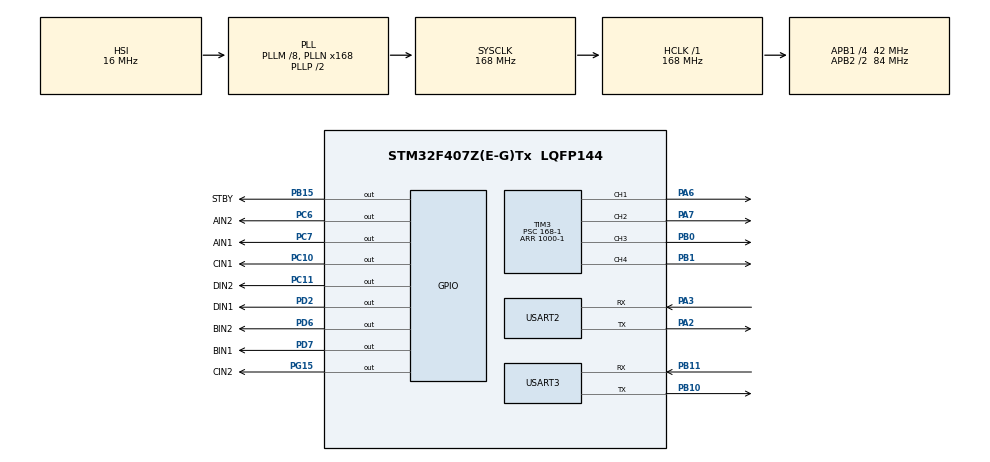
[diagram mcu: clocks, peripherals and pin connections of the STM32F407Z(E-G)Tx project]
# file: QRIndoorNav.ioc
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Dma.Request0=USART3_RX
Dma.USART3_RX.0.Direction=DMA_PERIPH_TO_MEMORY
Dma.USART3_RX.0.FIFOMode=DMA_FIFOMODE_DISABLE
Dma.USART3_RX.0.Instance=DMA1_Stream1
Dma.USART3_RX.0.MemDataAlignment=DMA_MDATAALIGN_BYTE
Dma.USART3_RX.0.MemInc=DMA_MINC_ENABLE
Dma.USART3_RX.0.Mode=DMA_CIRCULAR
Dma.USART3_RX.0.PeriphDataAlignment=DMA_PDATAALIGN_BYTE
Dma.USART3_RX.0.PeriphInc=DMA_PINC_DISABLE
Dma.USART3_RX.0.Priority=DMA_PRIORITY_HIGH
Mcu.Family=STM32F4
Mcu.Name=STM32F407Z(E-G)Tx
Mcu.Package=LQFP144
NVIC.DMA1_Stream1_IRQn=true\:0\:0\:false\:false\:true\:false\:true\:true
NVIC.FPU_IRQn=true\:0\:0\:false\:false\:true\:true\:false\:true
NVIC.PriorityGroup=NVIC_PRIORITYGROUP_4
NVIC.USART3_IRQn=true\:0\:0\:false\:false\:true\:true\:true\:true
PA13.Mode=Serial_Wire
PA13.Signal=SYS_JTMS-SWDIO
PA14.Mode=Serial_Wire
PA14.Signal=SYS_JTCK-SWCLK
PA2.Mode=Asynchronous
PA2.Signal=USART2_TX
PA3.Mode=Asynchronous
PA3.Signal=USART2_RX
PA6.Signal=S_TIM3_CH1
PA7.Signal=S_TIM3_CH2
PB0.Signal=S_TIM3_CH3
PB1.Signal=S_TIM3_CH4
PB10.Mode=Asynchronous
PB10.Signal=USART3_TX
PB11.Mode=Asynchronous
PB11.Signal=USART3_RX
PB15.GPIO_Label=STBY
PB15.Signal=GPIO_Output
PC10.GPIO_Label=CIN1
PC10.GPIO_Speed=GPIO_SPEED_FREQ_HIGH
PC10.Signal=GPIO_Output
PC11.GPIO_Label=DIN2
PC11.GPIO_Speed=GPIO_SPEED_FREQ_HIGH
PC11.Signal=GPIO_Output
PC6.GPIO_Label=AIN2
PC6.GPIO_Speed=GPIO_SPEED_FREQ_HIGH
PC6.Signal=GPIO_Output
PC7.GPIO_Label=AIN1
PC7.GPIO_Speed=GPIO_SPEED_FREQ_HIGH
PC7.Signal=GPIO_Output
PD2.GPIO_Label=DIN1
PD2.GPIO_Speed=GPIO_SPEED_FREQ_HIGH
PD2.Signal=GPIO_Output
PD6.GPIO_Label=BIN2
PD6.GPIO_Speed=GPIO_SPEED_FREQ_HIGH
PD6.Signal=GPIO_Output
PD7.GPIO_Label=BIN1
PD7.GPIO_Speed=GPIO_SPEED_FREQ_HIGH
PD7.Signal=GPIO_Output
PG15.GPIO_Label=CIN2
PG15.GPIO_Speed=GPIO_SPEED_FREQ_HIGH
PG15.Signal=GPIO_Output
PH0-OSC_IN.Mode=HSE-External-Oscillator
PH0-OSC_IN.Signal=RCC_OSC_IN
PH1-OSC_OUT.Mode=HSE-External-Oscillator
PH1-OSC_OUT.Signal=RCC_OSC_OUT
ProjectManager.HeapSize=0x200
ProjectManager.StackSize=0x400
ProjectManager.TargetToolchain=Makefile
RCC.48MHZClocksFreq_Value=84000000
RCC.AHBFreq_Value=168000000
RCC.APB1CLKDivider=RCC_HCLK_DIV4
RCC.APB1Freq_Value=42000000
RCC.APB1TimFreq_Value=84000000
RCC.APB2CLKDivider=RCC_HCLK_DIV2
RCC.APB2Freq_Value=84000000
RCC.APB2TimFreq_Value=168000000
RCC.CortexFreq_Value=168000000
RCC.HCLKFreq_Value=168000000
RCC.HSE_VALUE=25000000
RCC.HSI_VALUE=16000000
RCC.LSE_VALUE=32768
RCC.PLLM=8
RCC.PLLN=168
RCC.SYSCLKFreq_VALUE=168000000
RCC.SYSCLKSource=RCC_SYSCLKSOURCE_PLLCLK
RCC.VCOOutputFreq_Value=336000000
SH.S_TIM3_CH1.0=TIM3_CH1,PWM Generation1 CH1
SH.S_TIM3_CH2.0=TIM3_CH2,PWM Generation2 CH2
SH.S_TIM3_CH3.0=TIM3_CH3,PWM Generation3 CH3
SH.S_TIM3_CH4.0=TIM3_CH4,PWM Generation4 CH4
TIM3.Channel-PWM\ Generation1\ CH1=TIM_CHANNEL_1
TIM3.Channel-PWM\ Generation2\ CH2=TIM_CHANNEL_2
TIM3.Channel-PWM\ Generation3\ CH3=TIM_CHANNEL_3
TIM3.Channel-PWM\ Generation4\ CH4=TIM_CHANNEL_4
TIM3.Period=1000-1
TIM3.Prescaler=168-1
USART2.VirtualMode=VM_ASYNC
USART3.VirtualMode=VM_ASYNC
VP_TIM3_VS_ClockSourceINT.Mode=Internal
board=custom

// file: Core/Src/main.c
/* USER CODE BEGIN Header */
/**
  ******************************************************************************
  * @file           : main.c
  * @brief          : Main program body
  ******************************************************************************
  * @attention
  *
  * Copyright (c) 2026 STMicroelectronics.
  * All rights reserved.
  *
  * This software is licensed under terms that can be found in the LICENSE file
  * in the root directory of this software component.
  * If no LICENSE file comes with this software, it is provided AS-IS.
  *
  ******************************************************************************
  */
/* USER CODE END Header */
#include "main.h"

/* USER CODE BEGIN Includes */
#include "motor.h"
#include "qr_comm.h"
#include "localization.h"
#include "wifi_comm.h"
#include "camera_calib.h"
#include <stdio.h>
#include <string.h>
/* USER CODE END Includes */

TIM_HandleTypeDef htim3;

UART_HandleTypeDef huart2;
UART_HandleTypeDef huart3;
DMA_HandleTypeDef hdma_usart3_rx;

void SystemClock_Config(void);
static void MX_GPIO_Init(void);
static void MX_DMA_Init(void);
static void MX_USART3_UART_Init(void);
static void MX_TIM3_Init(void);
static void MX_USART2_UART_Init(void);

int main(void)
{

  /* MCU Configuration--------------------------------------------------------*/

  /* Reset of all peripherals, Initializes the Flash interface and the Systick. */
  HAL_Init();

  /* Configure the system clock */
  SystemClock_Config();

  /* Initialize all configured peripherals */
  MX_GPIO_Init();
  MX_DMA_Init();
  MX_USART3_UART_Init();
  MX_TIM3_Init();
  MX_USART2_UART_Init();
  /* USER CODE BEGIN 2 */

  /* 初始化各个模块 */
  Motor_Init();
  QR_Comm_Init();
  QR_Comm_Start_Receive();
  WiFi_Comm_Init();
  WiFi_Comm_Start_Receive();
  Localization_Init();
  /* 配置PnP所需参数：使用 GC2145 实际标定结果 */
  Set_Camera_Intrinsics(CAMERA_FX, CAMERA_FY, CAMERA_CX, CAMERA_CY);
  Set_Marker_Size(MARKER_SIZE_CM);

  /* DEBUG: 通过UART3发送初始化消息 */
  const char *init_msg = "System initialized\r\n";
  HAL_UART_Transmit(&huart3, (uint8_t *)init_msg, strlen(init_msg), 100);

  /* 电机自检：短暂转动以验证接线和驱动器 */
  const char *test_msg = "Motor self-test...\r\n";
  HAL_UART_Transmit(&huart3, (uint8_t *)test_msg, strlen(test_msg), 100);

  Motor_SetSpeed(MOTOR_A, 300);
  Motor_SetSpeed(MOTOR_B, 300);
  Motor_SetSpeed(MOTOR_C, 300);
  Motor_SetSpeed(MOTOR_D, 300);
  HAL_Delay(500);
  Motor_Stop_All();

  const char *test_ok = "Motor test complete\r\n";
  HAL_UART_Transmit(&huart3, (uint8_t *)test_ok, strlen(test_ok), 100);

  /* USER CODE END 2 */

  /* Infinite loop */
  /* USER CODE BEGIN WHILE */

  /* 主控制循环参数 */
  #define CONTROL_PERIOD_MS  20  /* 50Hz控制频率 */
  #define WIFI_SEND_PERIOD_MS 200  /* Wi-Fi发送周期5Hz */
  uint32_t last_control_time = 0;
  uint32_t last_wifi_send = 0;

  bool navigation_active = false;
  bool manual_control_mode = false;
  /* 演示模式变量 */
  bool demo_initial_sending = false; /* 上电5s后持续发送初始POS */
  uint32_t demo_initial_start = 0;
  bool demo_sequence_active = false; /* 收到手机后启动的演示序列 */
  uint32_t demo_sequence_start = 0;
  const float demo_start_x = 123.0f, demo_start_y = 135.0f, demo_start_heading = 10.0f;
  float demo_target_x = 0.0f, demo_target_y = 0.0f;
  const uint32_t DEMO_START_DELAY_MS = 5000U;
  const uint32_t DEMO_TURN_MS = 1000U;   /* 左转耗时（用于模拟航向变化） */
  const uint32_t DEMO_MOVE_MS = 7000U;  /* 直线行驶时长（改回7秒） */
  uint8_t demo_heading_jitter = 0;
  bool demo_finished = false; /* 演示完成后保持发送固定POS */
  /* 新的右转演示：CMD:GOTO,140,10 */
  bool right_demo_active = false;
  bool right_demo_finished = false;
  uint32_t right_demo_start = 0;
  const float right_demo_start_x = 99.0f, right_demo_start_y = 14.0f;
  const float right_demo_end_x = 145.0f, right_demo_end_y = 11.0f;
  const float right_demo_heading = 60.0f;
  const uint32_t RIGHT_DEMO_TURN_MS = 2000U;
  const uint32_t RIGHT_DEMO_MOVE_MS = 3000U;
  const float right_demo_turn_start_heading = 10.0f;
  /* 新的右转演示：CMD:GOTO,20,130 */
  bool third_demo_active = false;
  bool third_demo_finished = false;
  uint32_t third_demo_start = 0;
  const float third_demo_start_x = 145.0f, third_demo_start_y = 11.0f;
  const float third_demo_end_x = 100.0f, third_demo_end_y = 130.0f;
  const float third_demo_heading = -160.0f;
  const uint32_t THIRD_DEMO_TURN_MS = 3000U;
  const uint32_t THIRD_DEMO_MOVE_MS = 7000U;
  const float third_demo_turn_start_heading = 10.0f;
    bool k210_ready_logged = false;
    bool link_lost = true;
    uint32_t last_link_warn = 0;

  while (1)
  {
    uint32_t current_time = HAL_GetTick();

    /* 执行50Hz控制循环 */
    if (current_time - last_control_time >= CONTROL_PERIOD_MS) {
        last_control_time = current_time;

      /* 输出WiFi调试/服务（非阻塞） */
      WiFi_Print_Debug();

      /* 链路健康监测和事件回应 */
      if (QR_Comm_Is_K210_Ready() && !k210_ready_logged) {
        const char *ready_msg = "K210 ready\r\n";
        HAL_UART_Transmit(&huart3, (uint8_t *)ready_msg, strlen(ready_msg), 10);
        k210_ready_logged = true;
      }

      if (QR_Comm_Link_Alive(3000U)) {
        if (link_lost) {
          const char *restore_msg = "Link restored\r\n";
          HAL_UART_Transmit(&huart3, (uint8_t *)restore_msg, strlen(restore_msg), 10);
          link_lost = false;
        }
      } else {
        if (!link_lost && (current_time - last_link_warn >= 1000U)) {
          const char *lost_msg = "Link lost, stop\r\n";
          HAL_UART_Transmit(&huart3, (uint8_t *)lost_msg, strlen(lost_msg), 10);
          Motor_Stop_All();
          navigation_active = false;
          link_lost = true;
          last_link_warn = current_time;
        }
      }

        /* ========== 第一步：处理Wi-Fi命令 ========== */
        WiFi_Command_t wifi_cmd;
        if (WiFi_Comm_Process(&wifi_cmd)) {
            /* 调试输出：命令已接收 */
            char cmd_debug[64];
            snprintf(cmd_debug, sizeof(cmd_debug), "[Main] WiFi CMD type=%d\r\n", wifi_cmd.type);
            HAL_UART_Transmit(&huart3, (uint8_t *)cmd_debug, strlen(cmd_debug), 10);

            switch (wifi_cmd.type) {
                case WIFI_CMD_GOTO:
                  /* 如果收到手机直接发送的两个数（例如 "90 10"），并且是演示指令，则触发演示序列 */
                  if (demo_initial_sending && ((int)wifi_cmd.goto_cmd.target_x == 90) && ((int)wifi_cmd.goto_cmd.target_y == 10)) {
                    demo_sequence_active = true;
                    demo_sequence_start = current_time;
                    demo_target_x = wifi_cmd.goto_cmd.target_x;
                    demo_target_y = wifi_cmd.goto_cmd.target_y;
                    demo_initial_sending = false; /* 停止初始持续发送 */
                    demo_finished = false;
                    navigation_active = false;
                    manual_control_mode = false;
                    WiFi_Send_Status("DEMO_START");
                  } else if ((int)wifi_cmd.goto_cmd.target_x == 140 && (int)wifi_cmd.goto_cmd.target_y == 10) {
                    right_demo_active = true;
                    right_demo_finished = false;
                    right_demo_start = current_time;
                    demo_initial_sending = false;
                    demo_sequence_active = false;
                    demo_finished = false;
                    third_demo_finished = false;
                    navigation_active = false;
                    manual_control_mode = false;
                    WiFi_Send_Status("DEMO_START");
                  } else if ((int)wifi_cmd.goto_cmd.target_x == 100 && (int)wifi_cmd.goto_cmd.target_y == 130) {
                    third_demo_active = true;
                    third_demo_finished = false;
                    third_demo_start = current_time;
                    demo_initial_sending = false;
                    demo_sequence_active = false;
                    demo_finished = false;
                    right_demo_finished = false;
                    navigation_active = false;
                    manual_control_mode = false;
                    WiFi_Send_Status("DEMO_START");
                  } else {
                    /* 正常导航命令 */
                    demo_finished = false;
                    right_demo_finished = false;
                    third_demo_finished = false;
                    Set_Navigation_Target(wifi_cmd.goto_cmd.target_x,
                               wifi_cmd.goto_cmd.target_y, 10.0f);
                    navigation_active = true;
                    manual_control_mode = false;
                    WiFi_Send_Status("NAVIGATING");
                  }
                  break;

                case WIFI_CMD_MOVE:
                    /* 手动控制 */
                    manual_control_mode = true;
                    navigation_active = false;
                  right_demo_finished = false;
                    third_demo_finished = false;
                    {
                        float vx = 0, vy = 0, omega = 0;
                        int16_t spd = wifi_cmd.move_cmd.speed;

                        /* 调试输出：MOVE命令详情 */
                        char move_debug[64];
                        snprintf(move_debug, sizeof(move_debug), "[Main] MOVE dir=%d spd=%d\r\n",
                                wifi_cmd.move_cmd.direction, spd);
                        HAL_UART_Transmit(&huart3, (uint8_t *)move_debug, strlen(move_debug), 10);

                        switch (wifi_cmd.move_cmd.direction) {
                            case MOVE_FORWARD:    vx = spd;  break;
                            case MOVE_BACKWARD:   vx = -spd; break;
                            case MOVE_LEFT:       vy = spd;  break;
                            case MOVE_RIGHT:      vy = -spd; break;
                            case MOVE_TURN_LEFT:  omega = -spd; break;
                            case MOVE_TURN_RIGHT: omega = spd; break;
                        }
                        Mecanum_Move(vx, vy, omega);

                        /* 调试输出：Mecanum参数 */
                        char mec_debug[64];
                        snprintf(mec_debug, sizeof(mec_debug), "[Main] Mecanum vx=%.0f vy=%.0f w=%.0f\r\n",
                                vx, vy, omega);
                        HAL_UART_Transmit(&huart3, (uint8_t *)mec_debug, strlen(mec_debug), 10);
                    }
                    WiFi_Send_Status("MANUAL");
                    demo_finished = false;
                    break;

                case WIFI_CMD_STOP:
                    Motor_Stop_All();
                    navigation_active = false;
                    manual_control_mode = false;
                  right_demo_finished = false;
                    third_demo_finished = false;
                    WiFi_Send_Status("IDLE");
                    break;

                case WIFI_CMD_QUERY:
                    /* 发送当前状态 */
                    if (navigation_active) {
                        WiFi_Send_Status("NAVIGATING");
                    } else if (manual_control_mode) {
                        WiFi_Send_Status("MANUAL");
                    } else {
                        WiFi_Send_Status("IDLE");
                    }
                    break;

                default:
                    break;
            }
        }

        /* ========== 第二步：接收并处理二维码数据 ========== */
        QR_Data_t qr_data;
        if (QR_Comm_Process(&qr_data)) {
          /* 成功接收定位数据：$POS直接融合，角点包优先使用PnP */
          if (qr_data.pose_valid || !Update_Pose_From_QR_PnP(&qr_data)) {
            Update_Position_From_QR(&qr_data);
          }

            /* DEBUG: 打印接收到的数据 */
            char debug_msg[128];
            snprintf(debug_msg, sizeof(debug_msg),
                    "%s: %s @ (%.1f, %.1f) heading=%.1f\r\n",
                    qr_data.pose_valid ? "POS" : "QR",
                    qr_data.id, qr_data.world_x, qr_data.world_y, qr_data.heading_deg);
            HAL_UART_Transmit(&huart3, (uint8_t *)debug_msg, strlen(debug_msg), 10);

            /* 自动激活导航：首次检测到QR后，仅在无Wi-Fi控制时激活 */
            if (!navigation_active && !manual_control_mode) {
              float target_x = qr_data.world_x + 90.0f;
                float target_y = qr_data.world_y;
              demo_finished = false;
              right_demo_finished = false;
              third_demo_finished = false;
                Set_Navigation_Target(target_x, target_y, 10.0f);
                navigation_active = true;

                char nav_msg[128];
                snprintf(nav_msg, sizeof(nav_msg),
                        "Navigation activated: target (%.1f, %.1f)\r\n",
                        target_x, target_y);
                HAL_UART_Transmit(&huart3, (uint8_t *)nav_msg, strlen(nav_msg), 10);
            }
        }

        /* ========== 第三步：导航控制 ========== */
        if (navigation_active && !manual_control_mode) {
            if (Navigate_Update()) {
                /* 已到达目标 */
                navigation_active = false;
                Motor_Stop_All();
                const char *arrived_msg = "Target reached\r\n";
                HAL_UART_Transmit(&huart3, (uint8_t *)arrived_msg, strlen(arrived_msg), 10);
            }
        }

        /* ========== 第四步：定期发送位置到Wi-Fi ========== */
        if (current_time - last_wifi_send >= WIFI_SEND_PERIOD_MS) {
          last_wifi_send = current_time;

          /* 启动后5s持续发送初始POS（演示） */
          if (!demo_initial_sending && current_time >= DEMO_START_DELAY_MS && !demo_sequence_active) {
            demo_initial_sending = true;
            demo_initial_start = current_time;
          }

          if (right_demo_finished) {
            /* 右转演示完成后保持发送固定坐标和航向 */
            WiFi_Send_Position(right_demo_end_x, right_demo_end_y, right_demo_heading);
          } else if (third_demo_finished) {
            /* 另一个右转演示完成后保持发送固定坐标和航向 */
            WiFi_Send_Position(third_demo_end_x, third_demo_end_y, third_demo_heading);
          } else if (demo_finished) {
            /* 演示完成后保持发送固定坐标和航向 */
            WiFi_Send_Position(99.0f, 14.0f, -18.0f);
          } else if (right_demo_active) {
            uint32_t elapsed = current_time - right_demo_start;
            if (elapsed <= RIGHT_DEMO_TURN_MS) {
              /* 右转阶段：先原地右转并让航向角线性变化 */
              float t = (float)elapsed / (float)RIGHT_DEMO_TURN_MS;
              float heading = right_demo_turn_start_heading + t * (right_demo_heading - right_demo_turn_start_heading);
              Mecanum_Move(0.0f, 0.0f, 300.0f);
              WiFi_Send_Position(right_demo_start_x, right_demo_start_y, heading);
            } else if (elapsed <= (RIGHT_DEMO_TURN_MS + RIGHT_DEMO_MOVE_MS)) {
              /* 直线阶段：再前进 2 秒并插值到目标坐标 */
              uint32_t move_elapsed = elapsed - RIGHT_DEMO_TURN_MS;
              float frac = (float)move_elapsed / (float)RIGHT_DEMO_MOVE_MS;
              if (frac > 1.0f) frac = 1.0f;
              float x = right_demo_start_x + frac * (right_demo_end_x - right_demo_start_x);
              float y = right_demo_start_y + frac * (right_demo_end_y - right_demo_start_y);
              Mecanum_Move(300.0f, 0.0f, 0.0f);
              WiFi_Send_Position(x, y, right_demo_heading);
            } else {
              /* 演示结束，停止电机并切换到完成保持发送 */
              Motor_Stop_All();
              right_demo_active = false;
              right_demo_finished = true;
              WiFi_Send_Status("ARRIVAL");
              WiFi_Send_Position(right_demo_end_x, right_demo_end_y, right_demo_heading);
            }
          } else if (third_demo_active) {
            uint32_t elapsed = current_time - third_demo_start;
            if (elapsed <= THIRD_DEMO_TURN_MS) {
              /* 右转阶段：先原地右转并让航向角线性变化 */
              float t = (float)elapsed / (float)THIRD_DEMO_TURN_MS;
              float heading = third_demo_turn_start_heading + t * (third_demo_heading - third_demo_turn_start_heading);
              Mecanum_Move(0.0f, 0.0f, 300.0f);
              WiFi_Send_Position(third_demo_start_x, third_demo_start_y, heading);
            } else if (elapsed <= (THIRD_DEMO_TURN_MS + THIRD_DEMO_MOVE_MS)) {
              /* 直线阶段：再前进 5 秒并插值到目标坐标 */
              uint32_t move_elapsed = elapsed - THIRD_DEMO_TURN_MS;
              float frac = (float)move_elapsed / (float)THIRD_DEMO_MOVE_MS;
              if (frac > 1.0f) frac = 1.0f;
              float x = third_demo_start_x + frac * (third_demo_end_x - third_demo_start_x);
              float y = third_demo_start_y + frac * (third_demo_end_y - third_demo_start_y);
              Mecanum_Move(300.0f, 0.0f, 0.0f);
              WiFi_Send_Position(x, y, third_demo_heading);
            } else {
              /* 演示结束，停止电机并切换到完成保持发送 */
              Motor_Stop_All();
              third_demo_active = false;
              third_demo_finished = true;
              WiFi_Send_Status("ARRIVAL");
              WiFi_Send_Position(third_demo_end_x, third_demo_end_y, third_demo_heading);
            }
          } else if (demo_sequence_active) {
            uint32_t elapsed = current_time - demo_sequence_start;
            if (elapsed <= DEMO_TURN_MS) {
              /* 左转阶段：模拟角度线性变化，位置暂不改变 */
              Mecanum_Move(0.0f, 0.0f, -300.0f);
              float t = (float)elapsed / (float)DEMO_TURN_MS;
              float heading = demo_start_heading + t * (-27.0f); /* 10 -> -17 */
              WiFi_Send_Position(demo_start_x, demo_start_y, heading);
            } else if (elapsed <= (DEMO_TURN_MS + DEMO_MOVE_MS)) {
              /* 直线行驶阶段：线性插值位置并发送，航向保持-17并带微抖动 */
              uint32_t move_elapsed = elapsed - DEMO_TURN_MS;
              float frac = (float)move_elapsed / (float)DEMO_MOVE_MS;
              if (frac > 1.0f) frac = 1.0f;
              float x = demo_start_x + frac * (demo_target_x - demo_start_x);
              float y = demo_start_y + frac * (demo_target_y - demo_start_y);
              float heading = -17.0f + ((demo_heading_jitter & 1) ? 1.0f : -1.0f);
              demo_heading_jitter++;
              Mecanum_Move(300.0f, 0.0f, 0.0f);
              WiFi_Send_Position(x, y, heading);
            } else {
              /* 演示结束，停止电机并报告，切换到完成保持发送 */
              Motor_Stop_All();
              demo_sequence_active = false;
              demo_finished = true;
              demo_target_x = 90.0f;
              demo_target_y = 10.0f;
              WiFi_Send_Status("ARRIVAL");
              /* 立即发送最终坐标一次 */
              WiFi_Send_Position(demo_target_x, demo_target_y, -18.0f);
            }
          } else if (demo_initial_sending) {
            /* 初始持续发送固定坐标 */
            WiFi_Send_Position(demo_start_x, demo_start_y, demo_start_heading);
          } else if (WiFi_Transparent_Mode_Ready()) {
            /* 常规行为：透传模式下发送真实位置 */
            Position_t pos = Get_Current_Position();
            WiFi_Send_Position(pos.x, pos.y, pos.heading);
          }
        }

        /* 示例：自动导航到目标点(300, 300)
         * 取消下面的注释来启用自动导航
         */
        // if (!navigation_active && current_time % 5000 == 0) {
        //     Set_Navigation_Target(300.0f, 300.0f, 10.0f);
        //     navigation_active = true;
        // }
    }
    /* USER CODE END WHILE */

  }
}

void SystemClock_Config(void)
{
  RCC_OscInitTypeDef RCC_OscInitStruct = {0};
  RCC_ClkInitTypeDef RCC_ClkInitStruct = {0};

  /** Configure the main internal regulator output voltage
  */
  __HAL_RCC_PWR_CLK_ENABLE();
  __HAL_PWR_VOLTAGESCALING_CONFIG(PWR_REGULATOR_VOLTAGE_SCALE1);

  /** Initializes the RCC Oscillators according to the specified parameters
  * in the RCC_OscInitTypeDef structure.
  */
  RCC_OscInitStruct.OscillatorType = RCC_OSCILLATORTYPE_HSI;
  RCC_OscInitStruct.HSIState = RCC_HSI_ON;
  RCC_OscInitStruct.HSICalibrationValue = RCC_HSICALIBRATION_DEFAULT;
  RCC_OscInitStruct.PLL.PLLState = RCC_PLL_ON;
  RCC_OscInitStruct.PLL.PLLSource = RCC_PLLSOURCE_HSI;
  RCC_OscInitStruct.PLL.PLLM = 8;
  RCC_OscInitStruct.PLL.PLLN = 168;
  RCC_OscInitStruct.PLL.PLLP = RCC_PLLP_DIV2;
  RCC_OscInitStruct.PLL.PLLQ = 4;
  if (HAL_RCC_OscConfig(&RCC_OscInitStruct) != HAL_OK)
  {
    Error_Handler();
  }

  /** Initializes the CPU, AHB and APB buses clocks
  */
  RCC_ClkInitStruct.ClockType = RCC_CLOCKTYPE_HCLK|RCC_CLOCKTYPE_SYSCLK
                              |RCC_CLOCKTYPE_PCLK1|RCC_CLOCKTYPE_PCLK2;
  RCC_ClkInitStruct.SYSCLKSource = RCC_SYSCLKSOURCE_PLLCLK;
  RCC_ClkInitStruct.AHBCLKDivider = RCC_SYSCLK_DIV1;
  RCC_ClkInitStruct.APB1CLKDivider = RCC_HCLK_DIV4;
  RCC_ClkInitStruct.APB2CLKDivider = RCC_HCLK_DIV2;

  if (HAL_RCC_ClockConfig(&RCC_ClkInitStruct, FLASH_LATENCY_5) != HAL_OK)
  {
    Error_Handler();
  }
}

static void MX_TIM3_Init(void)
{

  TIM_ClockConfigTypeDef sClockSourceConfig = {0};
  TIM_MasterConfigTypeDef sMasterConfig = {0};
  TIM_OC_InitTypeDef sConfigOC = {0};

  htim3.Instance = TIM3;
  htim3.Init.Prescaler = 168-1;
  htim3.Init.CounterMode = TIM_COUNTERMODE_UP;
  htim3.Init.Period = 1000-1;
  htim3.Init.ClockDivision = TIM_CLOCKDIVISION_DIV1;
  htim3.Init.AutoReloadPreload = TIM_AUTORELOAD_PRELOAD_DISABLE;
  if (HAL_TIM_Base_Init(&htim3) != HAL_OK)
  {
    Error_Handler();
  }
  sClockSourceConfig.ClockSource = TIM_CLOCKSOURCE_INTERNAL;
  if (HAL_TIM_ConfigClockSource(&htim3, &sClockSourceConfig) != HAL_OK)
  {
    Error_Handler();
  }
  if (HAL_TIM_PWM_Init(&htim3) != HAL_OK)
  {
    Error_Handler();
  }
  sMasterConfig.MasterOutputTrigger = TIM_TRGO_RESET;
  sMasterConfig.MasterSlaveMode = TIM_MASTERSLAVEMODE_DISABLE;
  if (HAL_TIMEx_MasterConfigSynchronization(&htim3, &sMasterConfig) != HAL_OK)
  {
    Error_Handler();
  }
  sConfigOC.OCMode = TIM_OCMODE_PWM1;
  sConfigOC.Pulse = 0;
  sConfigOC.OCPolarity = TIM_OCPOLARITY_HIGH;
  sConfigOC.OCFastMode = TIM_OCFAST_DISABLE;
  if (HAL_TIM_PWM_ConfigChannel(&htim3, &sConfigOC, TIM_CHANNEL_1) != HAL_OK)
  {
    Error_Handler();
  }
  if (HAL_TIM_PWM_ConfigChannel(&htim3, &sConfigOC, TIM_CHANNEL_2) != HAL_OK)
  {
    Error_Handler();
  }
  if (HAL_TIM_PWM_ConfigChannel(&htim3, &sConfigOC, TIM_CHANNEL_3) != HAL_OK)
  {
    Error_Handler();
  }
  if (HAL_TIM_PWM_ConfigChannel(&htim3, &sConfigOC, TIM_CHANNEL_4) != HAL_OK)
  {
    Error_Handler();
  }
  HAL_TIM_MspPostInit(&htim3);

}

static void MX_USART2_UART_Init(void)
{

  huart2.Instance = USART2;
  huart2.Init.BaudRate = 115200;
  huart2.Init.WordLength = UART_WORDLENGTH_8B;
  huart2.Init.StopBits = UART_STOPBITS_1;
  huart2.Init.Parity = UART_PARITY_NONE;
  huart2.Init.Mode = UART_MODE_TX_RX;
  huart2.Init.HwFlowCtl = UART_HWCONTROL_NONE;
  huart2.Init.OverSampling = UART_OVERSAMPLING_16;
  if (HAL_UART_Init(&huart2) != HAL_OK)
  {
    Error_Handler();
  }

}

static void MX_USART3_UART_Init(void)
{

  huart3.Instance = USART3;
  huart3.Init.BaudRate = 115200;
  huart3.Init.WordLength = UART_WORDLENGTH_8B;
  huart3.Init.StopBits = UART_STOPBITS_1;
  huart3.Init.Parity = UART_PARITY_NONE;
  huart3.Init.Mode = UART_MODE_TX_RX;
  huart3.Init.HwFlowCtl = UART_HWCONTROL_NONE;
  huart3.Init.OverSampling = UART_OVERSAMPLING_16;
  if (HAL_UART_Init(&huart3) != HAL_OK)
  {
    Error_Handler();
  }

}

static void MX_DMA_Init(void)
{

  /* DMA controller clock enable */
  __HAL_RCC_DMA1_CLK_ENABLE();

  /* DMA interrupt init */
  /* DMA1_Stream1_IRQn interrupt configuration */
  HAL_NVIC_SetPriority(DMA1_Stream1_IRQn, 0, 0);
  HAL_NVIC_EnableIRQ(DMA1_Stream1_IRQn);

}

static void MX_GPIO_Init(void)
{
  GPIO_InitTypeDef GPIO_InitStruct = {0};

  /* GPIO Ports Clock Enable */
  __HAL_RCC_GPIOH_CLK_ENABLE();
  __HAL_RCC_GPIOA_CLK_ENABLE();
  __HAL_RCC_GPIOB_CLK_ENABLE();
  __HAL_RCC_GPIOC_CLK_ENABLE();
  __HAL_RCC_GPIOD_CLK_ENABLE();
  __HAL_RCC_GPIOG_CLK_ENABLE();

  /*Configure GPIO pin Output Level */
  HAL_GPIO_WritePin(STBY_GPIO_Port, STBY_Pin, GPIO_PIN_RESET);

  /*Configure GPIO pin Output Level */
  HAL_GPIO_WritePin(GPIOC, AIN2_Pin|AIN1_Pin|CIN1_Pin|DIN2_Pin, GPIO_PIN_RESET);

  /*Configure GPIO pin Output Level */
  HAL_GPIO_WritePin(GPIOD, DIN1_Pin|BIN2_Pin|BIN1_Pin, GPIO_PIN_RESET);

  /*Configure GPIO pin Output Level */
  HAL_GPIO_WritePin(CIN2_GPIO_Port, CIN2_Pin, GPIO_PIN_RESET);

  /*Configure GPIO pin : STBY_Pin */
  GPIO_InitStruct.Pin = STBY_Pin;
  GPIO_InitStruct.Mode = GPIO_MODE_OUTPUT_PP;
  GPIO_InitStruct.Pull = GPIO_NOPULL;
  GPIO_InitStruct.Speed = GPIO_SPEED_FREQ_LOW;
  HAL_GPIO_Init(STBY_GPIO_Port, &GPIO_InitStruct);

  /*Configure GPIO pins : AIN2_Pin AIN1_Pin CIN1_Pin DIN2_Pin */
  GPIO_InitStruct.Pin = AIN2_Pin|AIN1_Pin|CIN1_Pin|DIN2_Pin;
  GPIO_InitStruct.Mode = GPIO_MODE_OUTPUT_PP;
  GPIO_InitStruct.Pull = GPIO_NOPULL;
  GPIO_InitStruct.Speed = GPIO_SPEED_FREQ_HIGH;
  HAL_GPIO_Init(GPIOC, &GPIO_InitStruct);

  /*Configure GPIO pins : DIN1_Pin BIN2_Pin BIN1_Pin */
  GPIO_InitStruct.Pin = DIN1_Pin|BIN2_Pin|BIN1_Pin;
  GPIO_InitStruct.Mode = GPIO_MODE_OUTPUT_PP;
  GPIO_InitStruct.Pull = GPIO_NOPULL;
  GPIO_InitStruct.Speed = GPIO_SPEED_FREQ_HIGH;
  HAL_GPIO_Init(GPIOD, &GPIO_InitStruct);

  /*Configure GPIO pin : CIN2_Pin */
  GPIO_InitStruct.Pin = CIN2_Pin;
  GPIO_InitStruct.Mode = GPIO_MODE_OUTPUT_PP;
  GPIO_InitStruct.Pull = GPIO_NOPULL;
  GPIO_InitStruct.Speed = GPIO_SPEED_FREQ_HIGH;
  HAL_GPIO_Init(CIN2_GPIO_Port, &GPIO_InitStruct);

}

void Error_Handler(void)
{
  __disable_irq();
  while (1)
  {
  }
}
